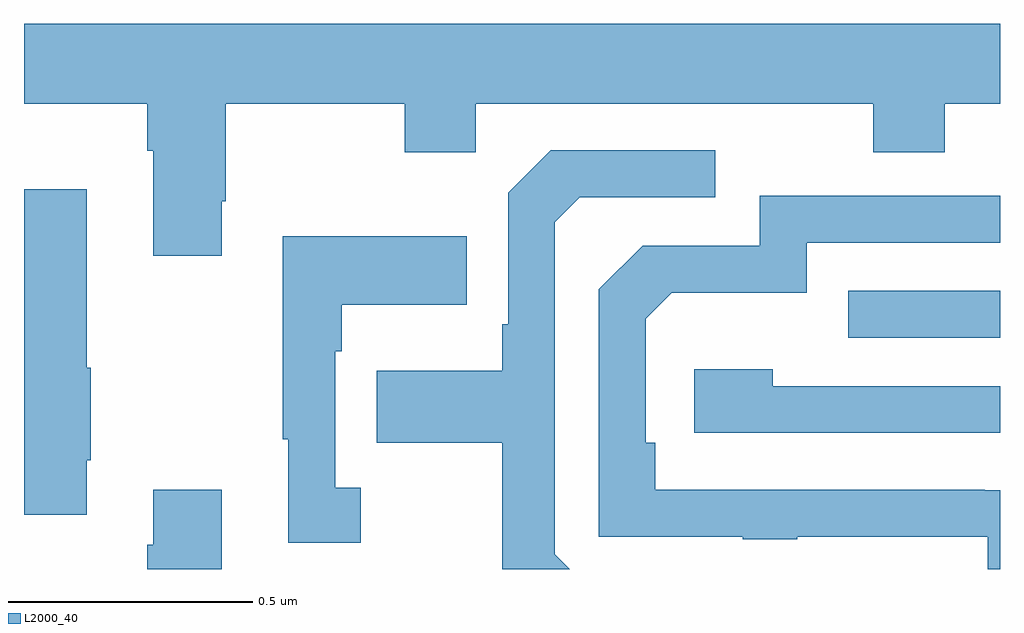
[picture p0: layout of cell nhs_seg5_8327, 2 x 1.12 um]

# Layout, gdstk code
import gdstk
lib = gdstk.Library(unit=1e-6, precision=1e-09)
def R(c, l, rs):  # rectangles x0, y0, x1, y1
    for r in rs: c.add(gdstk.rectangle(r[:2], r[2:], *l))
def P(c, l, *ps):  # polygons
    for p in ps: c.add(gdstk.Polygon(p, *l))
L2000_40 = (2000, 40)

nhs_seg5_8327 = lib.new_cell('nhs_seg5_8327')
R(nhs_seg5_8327, L2000_40, [(221.689,864.273,222,864.369)])
P(nhs_seg5_8327, L2000_40, [(220.405,864.553),(220.413,864.553),(220.413,864.752),(220.78,864.752),(220.78,864.653),(220.926,864.653),(220.926,864.752),(221.74,864.752),(221.74,864.653),(221.887,864.653),(221.887,864.752),(222,864.752),(222,864.916),(220,864.916),(220,864.752),(220.253,864.752),(220.253,864.656),(220.265,864.656),(220.265,864.441),(220.405,864.441)],
  [(221.088,863.829),(221.088,864.51),(221.139,864.561),(221.416,864.561),(221.416,864.657),(221.079,864.657),(220.992,864.57),(220.992,864.301),(220.98,864.301),(220.98,864.205),(220.723,864.205),(220.723,864.058),(220.98,864.058),(220.98,863.799),(221.118,863.799)],
  [(220.129,864.022),(220.137,864.022),(220.137,864.211),(220.129,864.211),(220.129,864.577),(220,864.577),(220,863.91),(220.129,863.91)],
  [(222,863.96),(221.969,863.96),(221.969,863.961),(221.294,863.961),(221.294,864.058),(221.274,864.058),(221.274,864.312),(221.327,864.365),(221.604,864.365),(221.604,864.468),(222,864.468),(222,864.564),(221.508,864.564),(221.508,864.462),(221.268,864.462),(221.178,864.372),(221.178,863.865),(221.473,863.865),(221.473,863.86),(221.585,863.86),(221.585,863.865),(221.975,863.865),(221.975,863.799),(222,863.799)],
  [(220.69,863.966),(220.638,863.966),(220.638,864.245),(220.651,864.245),(220.651,864.341),(220.907,864.341),(220.907,864.481),(220.53,864.481),(220.53,864.065),(220.541,864.065),(220.541,863.853),(220.69,863.853)],
  [(222,864.174),(221.534,864.174),(221.534,864.208),(221.373,864.208),(221.373,864.078),(222,864.078)],
  [(220.405,863.962),(220.265,863.962),(220.265,863.849),(220.253,863.849),(220.253,863.799),(220.405,863.799)])

lib.write_gds('nhs_seg5_8327.gds')
